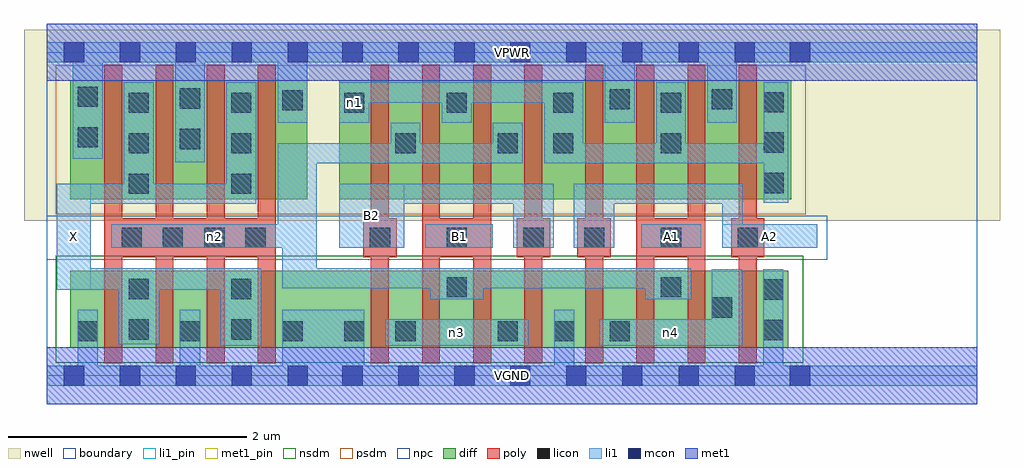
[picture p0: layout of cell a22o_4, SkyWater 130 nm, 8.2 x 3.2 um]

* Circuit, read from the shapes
.subckt a22o_4 A1 A2 B1 B2 VGND VPWR X n1 n2 n3 n4
XM1 X n2 VGND VSUBS sky130_fd_pr__nfet_01v8 w=0.65 l=0.15 m=4
XM2 n3 B2 VGND VSUBS sky130_fd_pr__nfet_01v8 w=0.65 l=0.15 m=2
XM3 n2 B1 n3 VSUBS sky130_fd_pr__nfet_01v8 w=0.65 l=0.15 m=2
XM4 n4 A2 VGND VSUBS sky130_fd_pr__nfet_01v8 w=0.65 l=0.15 m=2
XM5 n2 A1 n4 VSUBS sky130_fd_pr__nfet_01v8 w=0.65 l=0.15 m=2
XM6 X n2 VPWR n5 sky130_fd_pr__pfet_01v8 w=1 l=0.15 m=4
XM7 n2 B2 n1 n5 sky130_fd_pr__pfet_01v8 w=1 l=0.15 m=2
XM8 n1 B1 n2 n5 sky130_fd_pr__pfet_01v8 w=1 l=0.15 m=2
XM9 VPWR A2 n1 n5 sky130_fd_pr__pfet_01v8 w=1 l=0.15 m=2
XM10 n1 A1 VPWR n5 sky130_fd_pr__pfet_01v8 w=1 l=0.15 m=2
.ends

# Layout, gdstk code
import gdstk
lib = gdstk.Library(unit=1e-6, precision=1e-09)
def R(c, l, rs):  # rectangles x0, y0, x1, y1
    for r in rs: c.add(gdstk.rectangle(r[:2], r[2:], *l))
def A(c, l, x, y, w, h, nx, ny, dx, dy):  # array of equal rectangles
    R(c, l, [(x+i*dx, y+j*dy, x+i*dx+w, y+j*dy+h) for i in range(nx) for j in range(ny)])
nwell = (64, 20)
diff = (65, 20)
poly = (66, 20)
licon = (66, 44)
li1_pin = (67, 16)
li1 = (67, 20)
mcon = (67, 44)
met1_pin = (68, 16)
met1 = (68, 20)
nsdm = (93, 44)
psdm = (94, 20)
npc = (95, 20)
boundary = (235, 4)

a22o_4 = lib.new_cell('a22o_4')
R(a22o_4, nwell, [(-0.19,1.305,8.01,2.91), (0,1.305,7.82,2.91)])
R(a22o_4, diff, [(0.2,0.235,6.23,0.885), (0.2,1.485,2.19,2.485), (2.46,1.485,6.255,2.485)])
A(a22o_4, poly, 0.485, 0.105, 0.15, 2.51, 4, 1, 0.43, 0)
A(a22o_4, poly, 2.725, 0.105, 0.15, 2.51, 4, 1, 0.43, 0)
A(a22o_4, poly, 4.525, 0.105, 0.15, 2.51, 4, 1, 0.43, 0)
R(a22o_4, poly, [(0.485,0.995,1.925,1.325), (2.66,0.995,2.94,1.325), (3.155,0.995,3.735,1.325), (3.95,0.995,4.23,1.325), (4.46,0.995,4.74,1.325), (4.955,0.995,5.535,1.325), (5.75,0.995,6.03,1.325)])
A(a22o_4, licon, 0.26, 0.29, 0.17, 0.17, 3, 1, 0.86, 0)
A(a22o_4, licon, 2.715, 1.075, 0.17, 0.17, 3, 1, 0.645, 0)
A(a22o_4, licon, 4.515, 1.075, 0.17, 0.17, 3, 1, 0.645, 0)
A(a22o_4, licon, 0.69, 1.53, 0.17, 0.17, 1, 3, 0, 0.34)
A(a22o_4, licon, 1.55, 1.53, 0.17, 0.17, 1, 3, 0, 0.34)
A(a22o_4, licon, 6.025, 1.535, 0.17, 0.17, 1, 3, 0, 0.34)
R(a22o_4, licon, [(2.5,0.29,2.67,0.46), (2.93,0.29,3.1,0.46), (3.79,0.29,3.96,0.46), (4.265,0.29,4.435,0.46), (4.73,0.29,4.9,0.46), (6.02,0.3,6.19,0.47), (0.69,0.305,0.86,0.475), (1.55,0.305,1.72,0.475), (5.59,0.49,5.76,0.66), (6.02,0.64,6.19,0.81), (0.69,0.645,0.86,0.815), (1.55,0.645,1.72,0.815), (3.36,0.66,3.53,0.83), (5.16,0.66,5.33,0.83), (0.63,1.075,0.8,1.245), (0.975,1.075,1.145,1.245), (1.325,1.075,1.495,1.245), (1.67,1.075,1.84,1.245), (2.93,1.87,3.1,2.04), (3.79,1.87,3.96,2.04), (4.255,1.87,4.425,2.04), (5.16,1.87,5.33,2.04), (1.12,1.905,1.29,2.075), (0.26,1.92,0.43,2.09), (2.5,2.21,2.67,2.38), (3.36,2.21,3.53,2.38), (4.255,2.21,4.425,2.38), (5.16,2.21,5.33,2.38), (1.98,2.23,2.15,2.4), (4.73,2.24,4.9,2.41), (5.59,2.24,5.76,2.41), (1.12,2.245,1.29,2.415), (0.26,2.26,0.43,2.43)])
R(a22o_4, li1_pin, [(0.085,0.725,0.37,1.615), (2.46,1.075,3.005,1.615), (3.18,1.075,3.75,1.275), (4.995,1.075,5.5,1.275), (5.675,1.075,6.475,1.275)])
R(a22o_4, li1, [(0,-0.085,7.82,0.085), (0.26,-0.085,0.43,0.555), (1.12,-0.085,1.29,0.555), (1.98,-0.085,2.67,0.555), (4.265,-0.085,4.435,0.555), (6.02,-0.085,6.19,0.895), (1.465,0.255,1.805,0.905), (2.845,0.255,4.045,0.475), (4.645,0.255,5.845,0.475), (5.59,0.255,5.845,0.895), (0.605,0.265,0.945,0.905), (3.225,0.645,3.67,0.905), (5.03,0.645,5.415,0.905), (0.085,0.725,1.805,0.905), (0.085,0.725,0.37,1.615), (1.98,0.735,5.415,0.905), (1.98,0.735,2.27,1.955), (0.545,1.075,2.27,1.275), (1.94,1.075,2.27,1.955), (2.46,1.075,3.005,1.615), (3.18,1.075,3.75,1.275), (3.92,1.075,4.26,1.615), (4.43,1.075,4.77,1.615), (4.995,1.075,5.5,1.275), (5.675,1.075,6.475,1.275), (5.675,1.075,5.85,1.615), (0.085,1.445,1.76,1.615), (0.65,1.445,0.9,2.465), (1.51,1.445,1.76,2.465), (2.46,1.445,4.26,1.615), (4.43,1.445,5.85,1.615), (6.025,1.455,6.23,2.465), (1.94,1.785,4,1.955), (2.89,1.785,3.14,2.125), (3.75,1.785,4,2.125), (4.18,1.785,6.23,1.955), (4.18,1.785,4.51,2.465), (5.12,1.785,5.37,2.465), (1.08,1.795,1.33,2.805), (0.22,1.825,0.47,2.805), (1.94,2.125,2.19,2.805), (2.46,2.125,2.71,2.465), (3.32,2.125,3.57,2.465), (4.69,2.125,4.94,2.805), (5.55,2.125,5.8,2.805), (2.46,2.295,4.51,2.465), (0,2.635,7.82,2.805)])
A(a22o_4, mcon, 0.145, -0.085, 0.17, 0.17, 5, 2, 0.47, 2.72)
A(a22o_4, mcon, 2.485, -0.085, 0.17, 0.17, 6, 2, 0.47, 2.72)
R(a22o_4, mcon, [(5.31,-0.085,5.48,0.085), (5.78,-0.085,5.95,0.085), (6.245,-0.085,6.415,0.085), (5.31,2.635,5.48,2.805), (5.78,2.635,5.95,2.805), (6.245,2.635,6.415,2.805)])
R(a22o_4, met1_pin, [(0,-0.24,7.82,0.24), (0,2.48,7.82,2.96)])
R(a22o_4, met1, [(0,-0.24,7.82,0.24), (0,2.48,7.82,2.96)])
R(a22o_4, nsdm, [(0.075,0.11,6.355,1.01)])
R(a22o_4, psdm, [(0.075,1.36,6.38,2.61)])
R(a22o_4, npc, [(0,0.975,6.56,1.345)])
R(a22o_4, boundary, [(0,0,7.82,2.72)])
a22o_4.add(gdstk.Label('A1', (5.247,1.175), layer=67, texttype=5))
a22o_4.add(gdstk.Label('A2', (6.075,1.175), layer=67, texttype=5))
a22o_4.add(gdstk.Label('B1', (3.465,1.175), layer=67, texttype=5))
a22o_4.add(gdstk.Label('B2', (2.732,1.345), layer=67, texttype=5))
a22o_4.add(gdstk.Label('X', (0.227,1.17), layer=67, texttype=5))
a22o_4.add(gdstk.Label('n3', (3.445,0.365), layer=67, texttype=5))
a22o_4.add(gdstk.Label('n4', (5.245,0.365), layer=67, texttype=5))
a22o_4.add(gdstk.Label('n2', (1.407,1.175), layer=67, texttype=5))
a22o_4.add(gdstk.Label('n1', (2.585,2.295), layer=67, texttype=5))
a22o_4.add(gdstk.Label('VPWR', (3.91,2.72), layer=68, texttype=5))
a22o_4.add(gdstk.Label('VGND', (3.91,0), layer=68, texttype=5))
a22o_4.add(gdstk.Label('A1', (5.247,1.175), layer=67, texttype=16))
a22o_4.add(gdstk.Label('A2', (6.075,1.175), layer=67, texttype=16))
a22o_4.add(gdstk.Label('B1', (3.465,1.175), layer=67, texttype=16))
a22o_4.add(gdstk.Label('B2', (2.732,1.345), layer=67, texttype=16))
a22o_4.add(gdstk.Label('X', (0.227,1.17), layer=67, texttype=16))
a22o_4.add(gdstk.Label('VPWR', (3.91,2.72), layer=68, texttype=16))
a22o_4.add(gdstk.Label('VGND', (3.91,0), layer=68, texttype=16))

lib.write_gds('a22o_4.gds')
